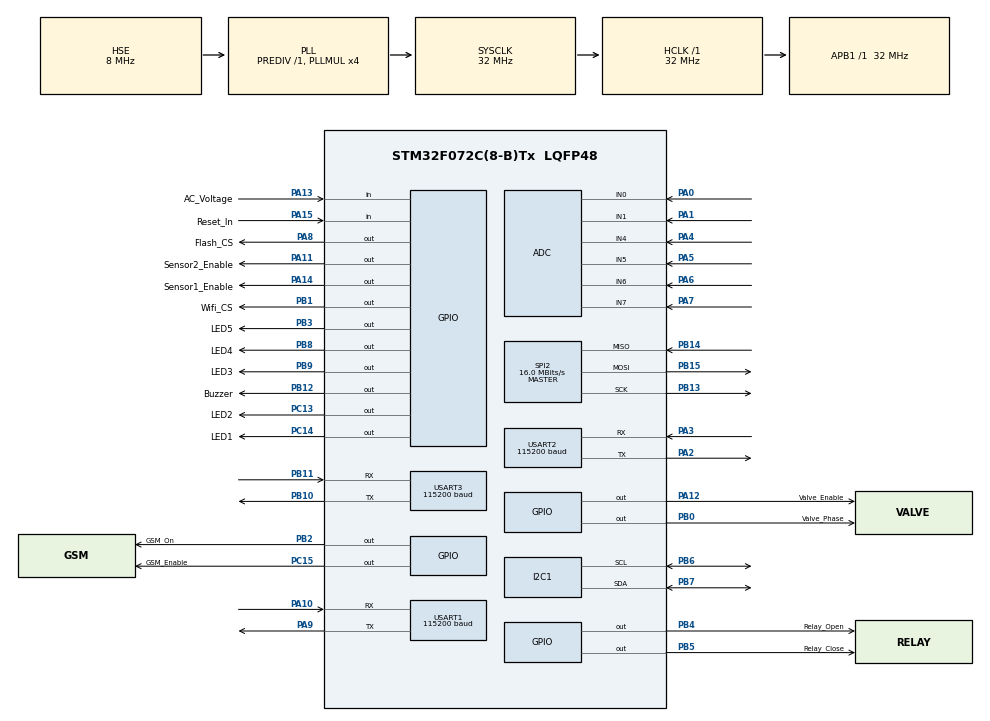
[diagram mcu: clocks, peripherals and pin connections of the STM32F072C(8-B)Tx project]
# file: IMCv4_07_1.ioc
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Mcu.Family=STM32F0
PA2.GPIO_PuPd=GPIO_PULLUP
PA6.Mode=IN6
WWDG.Counter=127
Dma.ADC.0.Mode=DMA_NORMAL
SPI2.VirtualType=VM_MASTER
PB10.Mode=Asynchronous
USART1.BaudRate=115200
PA14.GPIO_Label=Sensor1_Enable
PA3.GPIO_PuPd=GPIO_PULLUP
Dma.ADC.0.Priority=DMA_PRIORITY_LOW
PB0.GPIO_Label=Valve_Phase
PC13.GPIO_Label=LED2
PB11.Signal=USART3_RX
PB13.Signal=SPI2_SCK
PB15.Signal=SPI2_MOSI
PC15-OSC32_OUT.GPIO_Label=GSM_Enable
RCC.SYSCLKSource=RCC_SYSCLKSOURCE_PLLCLK
ProjectManager.StackSize=0x400
NVIC.I2C1_IRQn=true\:0\:0\:false\:false\:true\:true\:true
USART3.VirtualMode-Asynchronous=VM_ASYNC
PA15.GPIO_Label=Reset_In
PA12.Signal=GPIO_Output
USART3.BaudRate=115200
PA4.Mode=IN4
Dma.ADC.0.PeriphInc=DMA_PINC_DISABLE
RCC.HCLKFreq_Value=32000000
PB6.Signal=I2C1_SCL
PB6.Mode=I2C
RCC.AHBFreq_Value=32000000
Dma.ADC.0.Direction=DMA_PERIPH_TO_MEMORY
PB2.Signal=GPIO_Output
USART2.VirtualMode-Asynchronous=VM_ASYNC
RCC.PLLMUL=RCC_PLL_MUL4
PB12.GPIO_Label=Buzzer
PB14.Mode=Full_Duplex_Master
PB1.GPIO_Label=Wifi_CS
NVIC.TIM2_IRQn=true\:0\:0\:false\:false\:true\:false\:true
PA0.Mode=IN0
SPI2.CalculateBaudRate=16.0 MBits/s
PB7.Signal=I2C1_SDA
PA8.Signal=GPIO_Output
VP_TIM1_VS_ClockSourceINT.Mode=Internal
PA0.Signal=ADC_IN0
Dma.ADC.0.MemInc=DMA_MINC_ENABLE
NVIC.WWDG_IRQn=true\:0\:0\:false\:false\:true\:true\:true
Mcu.Package=LQFP48
PB9.Signal=GPIO_Output
VP_SYS_VS_tim2.Mode=TIM2
PB1.Signal=GPIO_Output
PA6.Signal=ADC_IN6
NVIC.TimeBase=TIM2_IRQn
SPI2.Mode=SPI_MODE_MASTER
Dma.ADC.0.Instance=DMA1_Channel1
NVIC.TimeBaseIP=TIM2
PA10.Signal=USART1_RX
PA15.Signal=GPIO_Input
Dma.ADC.0.MemDataAlignment=DMA_MDATAALIGN_WORD
PB5.GPIO_Label=Relay_Close
RCC.APB1TimFreq_Value=32000000
WWDG.Window=64
PC14-OSC32_IN.GPIO_Label=LED1
SPI2.Direction=SPI_DIRECTION_2LINES
TIM1.Period=100
PB13.Mode=Full_Duplex_Master
NVIC.USART1_IRQn=true\:0\:0\:false\:false\:true\:true\:true
PF1-OSC_OUT.Mode=HSE-External-Oscillator
Dma.Request0=ADC
WWDG.Prescaler=WWDG_PRESCALER_8
PF1-OSC_OUT.Signal=RCC_OSC_OUT
PB4.Signal=GPIO_Output
PA3.Signal=USART2_RX
PA5.Mode=IN5
PB3.GPIO_Label=LED5
RCC.PLLSourceVirtual=RCC_PLLSOURCE_HSE
PA7.Mode=IN7
PB9.GPIO_Label=LED3
PA10.Mode=Asynchronous
PC13.Signal=GPIO_Output
PA11.GPIO_Label=Sensor2_Enable
PC14-OSC32_IN.Signal=GPIO_Output
NVIC.USART2_IRQn=true\:0\:0\:true\:false\:true\:true\:true
USART2.BaudRate=115200
PA12.GPIO_Label=Valve_Enable
Dma.ADC.0.PeriphDataAlignment=DMA_PDATAALIGN_WORD
USART1.VirtualMode-Asynchronous=VM_ASYNC
PA3.Mode=Asynchronous
PA13.Signal=GPIO_Input
PB8.GPIO_Label=LED4
PA9.Mode=Asynchronous
PA8.GPIO_Label=Flash_CS
PB11.Mode=Asynchronous
ProjectManager.TargetToolchain=SW4STM32
PA9.Signal=USART1_TX
PC15-OSC32_OUT.Signal=GPIO_Output
PA1.Signal=ADC_IN1
PF0-OSC_IN.Mode=HSE-External-Oscillator
PB10.Signal=USART3_TX
PB14.Signal=SPI2_MISO
PA5.Signal=ADC_IN5
board=custom
PB15.Mode=Full_Duplex_Master
PA1.Mode=IN1
PB4.GPIO_Label=Relay_Open
Mcu.Name=STM32F072C(8-B)Tx
PA2.Signal=USART2_TX
PA13.GPIO_Label=AC_Voltage
PB3.Signal=GPIO_Output
PA4.Signal=ADC_IN4
RCC.SYSCLKFreq_VALUE=32000000
PB5.Signal=GPIO_Output
PA11.Signal=GPIO_Output
PB7.Mode=I2C
PA14.Signal=GPIO_Output
PB2.GPIO_Label=GSM_On
ProjectManager.HeapSize=0x200
VP_WWDG_VS_WWDG.Mode=WWDG_Activate
PA2.Mode=Asynchronous
PB8.Signal=GPIO_Output
SPI2.DataSize=SPI_DATASIZE_8BIT
NVIC.DMA1_Channel1_IRQn=true\:0\:0\:false\:false\:true\:false\:true
PF0-OSC_IN.Signal=RCC_OSC_IN
RCC.APB1Freq_Value=32000000
PB0.Signal=GPIO_Output
ADC.ContinuousConvMode=ENABLE
NVIC.TIM1_BRK_UP_TRG_COM_IRQn=true\:0\:0\:false\:false\:true\:true\:true
PB12.Signal=GPIO_Output
PA7.Signal=ADC_IN7

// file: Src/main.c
/* USER CODE BEGIN Header */
/**
  ******************************************************************************
  * @file           : main.c
  * @brief          : Main program body
  ******************************************************************************
  * @attention
  *
  * <h2><center>&copy; Copyright (c) 2021 STMicroelectronics.
  * All rights reserved.</center></h2>
  *
  * This software component is licensed by ST under BSD 3-Clause license,
  * the "License"; You may not use this file except in compliance with the
  * License. You may obtain a copy of the License at:
  *                        opensource.org/licenses/BSD-3-Clause
  *
  ******************************************************************************
  */
/* USER CODE END Header */

#include "main.h"

/* USER CODE BEGIN Includes */
#include "GSM.h"
#include "LCD.h"
#include "LCD1.h"
#include "ADE7953.h"
#include "motor.h"
#include "ADC.h"
/* USER CODE END Includes */

ADC_HandleTypeDef hadc;
DMA_HandleTypeDef hdma_adc;

I2C_HandleTypeDef hi2c1;

SPI_HandleTypeDef hspi2;

TIM_HandleTypeDef htim1;

UART_HandleTypeDef huart1;
UART_HandleTypeDef huart2;
UART_HandleTypeDef huart3;

WWDG_HandleTypeDef hwwdg;

/* USER CODE BEGIN PV */
/* Private variables ---------------------------------------------------------*/
uint8_t timer = 0;
uint8_t temp[20];
int timer1 = 0;
int timer2 = 0;
extern uint8_t of = 0;
extern ADE_direction adeDir;
extern int gsmTimeout;
/* USER CODE END PV */

void SystemClock_Config(void);
static void MX_GPIO_Init(void);
static void MX_DMA_Init(void);
static void MX_ADC_Init(void);
static void MX_I2C1_Init(void);
static void MX_SPI2_Init(void);
static void MX_USART1_UART_Init(void);
static void MX_USART2_UART_Init(void);
static void MX_USART3_UART_Init(void);
static void MX_TIM1_Init(void);
static void MX_WWDG_Init(void);
/* USER CODE BEGIN PFP */
void loop();
/* Private function prototypes -----------------------------------------------*/

/* USER CODE END PFP */

int main(void)
{

  /* MCU Configuration--------------------------------------------------------*/

  /* Reset of all peripherals, Initializes the Flash interface and the Systick. */
  HAL_Init();

  /* Configure the system clock */
  SystemClock_Config();

  /* Initialize all configured peripherals */
  MX_GPIO_Init();
  MX_DMA_Init();
  MX_ADC_Init();
  MX_I2C1_Init();
  MX_SPI2_Init();
  MX_USART1_UART_Init();
  MX_USART2_UART_Init();
  MX_USART3_UART_Init();
  MX_TIM1_Init();
  MX_WWDG_Init();
  /* USER CODE BEGIN 2 */
  HAL_Delay(500);
  //LCD_Init();
  Debug_Send("Here\r\n");
  GSM_Init();
  //Debug_Send("Here1\r\n");
  //ValveOpen();
  /* USER CODE END 2 */

  /* Infinite loop */
  while (1)
  {

    /* USER CODE BEGIN 3 */

	  /*if (of == 1){
		  of = 0;

	  }*/
  }
  /* USER CODE END 3 */
}

void SystemClock_Config(void)
{
  RCC_OscInitTypeDef RCC_OscInitStruct = {0};
  RCC_ClkInitTypeDef RCC_ClkInitStruct = {0};
  RCC_PeriphCLKInitTypeDef PeriphClkInit = {0};

  /** Initializes the CPU, AHB and APB busses clocks
  */
  RCC_OscInitStruct.OscillatorType = RCC_OSCILLATORTYPE_HSI|RCC_OSCILLATORTYPE_HSI14
                              |RCC_OSCILLATORTYPE_HSE;
  RCC_OscInitStruct.HSEState = RCC_HSE_ON;
  RCC_OscInitStruct.HSIState = RCC_HSI_ON;
  RCC_OscInitStruct.HSI14State = RCC_HSI14_ON;
  RCC_OscInitStruct.HSICalibrationValue = RCC_HSICALIBRATION_DEFAULT;
  RCC_OscInitStruct.HSI14CalibrationValue = 16;
  RCC_OscInitStruct.PLL.PLLState = RCC_PLL_ON;
  RCC_OscInitStruct.PLL.PLLSource = RCC_PLLSOURCE_HSE;
  RCC_OscInitStruct.PLL.PLLMUL = RCC_PLL_MUL4;
  RCC_OscInitStruct.PLL.PREDIV = RCC_PREDIV_DIV1;
  if (HAL_RCC_OscConfig(&RCC_OscInitStruct) != HAL_OK)
  {
    Error_Handler();
  }
  /** Initializes the CPU, AHB and APB busses clocks
  */
  RCC_ClkInitStruct.ClockType = RCC_CLOCKTYPE_HCLK|RCC_CLOCKTYPE_SYSCLK
                              |RCC_CLOCKTYPE_PCLK1;
  RCC_ClkInitStruct.SYSCLKSource = RCC_SYSCLKSOURCE_PLLCLK;
  RCC_ClkInitStruct.AHBCLKDivider = RCC_SYSCLK_DIV1;
  RCC_ClkInitStruct.APB1CLKDivider = RCC_HCLK_DIV1;

  if (HAL_RCC_ClockConfig(&RCC_ClkInitStruct, FLASH_LATENCY_1) != HAL_OK)
  {
    Error_Handler();
  }
  PeriphClkInit.PeriphClockSelection = RCC_PERIPHCLK_USART1|RCC_PERIPHCLK_USART2
                              |RCC_PERIPHCLK_I2C1;
  PeriphClkInit.Usart1ClockSelection = RCC_USART1CLKSOURCE_PCLK1;
  PeriphClkInit.Usart2ClockSelection = RCC_USART2CLKSOURCE_PCLK1;
  PeriphClkInit.I2c1ClockSelection = RCC_I2C1CLKSOURCE_HSI;
  if (HAL_RCCEx_PeriphCLKConfig(&PeriphClkInit) != HAL_OK)
  {
    Error_Handler();
  }
}

static void MX_ADC_Init(void)
{

  ADC_ChannelConfTypeDef sConfig = {0};

  /** Configure the global features of the ADC (Clock, Resolution, Data Alignment and number of conversion)
  */
  hadc.Instance = ADC1;
  hadc.Init.ClockPrescaler = ADC_CLOCK_ASYNC_DIV1;
  hadc.Init.Resolution = ADC_RESOLUTION_12B;
  hadc.Init.DataAlign = ADC_DATAALIGN_RIGHT;
  hadc.Init.ScanConvMode = ADC_SCAN_DIRECTION_FORWARD;
  hadc.Init.EOCSelection = ADC_EOC_SINGLE_CONV;
  hadc.Init.LowPowerAutoWait = DISABLE;
  hadc.Init.LowPowerAutoPowerOff = DISABLE;
  hadc.Init.ContinuousConvMode = ENABLE;
  hadc.Init.DiscontinuousConvMode = DISABLE;
  hadc.Init.ExternalTrigConv = ADC_SOFTWARE_START;
  hadc.Init.ExternalTrigConvEdge = ADC_EXTERNALTRIGCONVEDGE_NONE;
  hadc.Init.DMAContinuousRequests = DISABLE;
  hadc.Init.Overrun = ADC_OVR_DATA_PRESERVED;
  if (HAL_ADC_Init(&hadc) != HAL_OK)
  {
    Error_Handler();
  }
  /** Configure for the selected ADC regular channel to be converted.
  */
  sConfig.Channel = ADC_CHANNEL_0;
  sConfig.Rank = ADC_RANK_CHANNEL_NUMBER;
  sConfig.SamplingTime = ADC_SAMPLETIME_1CYCLE_5;
  if (HAL_ADC_ConfigChannel(&hadc, &sConfig) != HAL_OK)
  {
    Error_Handler();
  }
  /** Configure for the selected ADC regular channel to be converted.
  */
  sConfig.Channel = ADC_CHANNEL_1;
  if (HAL_ADC_ConfigChannel(&hadc, &sConfig) != HAL_OK)
  {
    Error_Handler();
  }
  /** Configure for the selected ADC regular channel to be converted.
  */
  sConfig.Channel = ADC_CHANNEL_4;
  if (HAL_ADC_ConfigChannel(&hadc, &sConfig) != HAL_OK)
  {
    Error_Handler();
  }
  /** Configure for the selected ADC regular channel to be converted.
  */
  sConfig.Channel = ADC_CHANNEL_5;
  if (HAL_ADC_ConfigChannel(&hadc, &sConfig) != HAL_OK)
  {
    Error_Handler();
  }
  /** Configure for the selected ADC regular channel to be converted.
  */
  sConfig.Channel = ADC_CHANNEL_6;
  if (HAL_ADC_ConfigChannel(&hadc, &sConfig) != HAL_OK)
  {
    Error_Handler();
  }
  /** Configure for the selected ADC regular channel to be converted.
  */
  sConfig.Channel = ADC_CHANNEL_7;
  if (HAL_ADC_ConfigChannel(&hadc, &sConfig) != HAL_OK)
  {
    Error_Handler();
  }

}

static void MX_I2C1_Init(void)
{

  hi2c1.Instance = I2C1;
  hi2c1.Init.Timing = 0x2000090E;
  hi2c1.Init.OwnAddress1 = 0;
  hi2c1.Init.AddressingMode = I2C_ADDRESSINGMODE_7BIT;
  hi2c1.Init.DualAddressMode = I2C_DUALADDRESS_DISABLE;
  hi2c1.Init.OwnAddress2 = 0;
  hi2c1.Init.OwnAddress2Masks = I2C_OA2_NOMASK;
  hi2c1.Init.GeneralCallMode = I2C_GENERALCALL_DISABLE;
  hi2c1.Init.NoStretchMode = I2C_NOSTRETCH_DISABLE;
  if (HAL_I2C_Init(&hi2c1) != HAL_OK)
  {
    Error_Handler();
  }
  /** Configure Analogue filter
  */
  if (HAL_I2CEx_ConfigAnalogFilter(&hi2c1, I2C_ANALOGFILTER_ENABLE) != HAL_OK)
  {
    Error_Handler();
  }
  /** Configure Digital filter
  */
  if (HAL_I2CEx_ConfigDigitalFilter(&hi2c1, 0) != HAL_OK)
  {
    Error_Handler();
  }

}

static void MX_SPI2_Init(void)
{

  /* SPI2 parameter configuration*/
  hspi2.Instance = SPI2;
  hspi2.Init.Mode = SPI_MODE_MASTER;
  hspi2.Init.Direction = SPI_DIRECTION_2LINES;
  hspi2.Init.DataSize = SPI_DATASIZE_8BIT;
  hspi2.Init.CLKPolarity = SPI_POLARITY_LOW;
  hspi2.Init.CLKPhase = SPI_PHASE_1EDGE;
  hspi2.Init.NSS = SPI_NSS_SOFT;
  hspi2.Init.BaudRatePrescaler = SPI_BAUDRATEPRESCALER_2;
  hspi2.Init.FirstBit = SPI_FIRSTBIT_MSB;
  hspi2.Init.TIMode = SPI_TIMODE_DISABLE;
  hspi2.Init.CRCCalculation = SPI_CRCCALCULATION_DISABLE;
  hspi2.Init.CRCPolynomial = 7;
  hspi2.Init.CRCLength = SPI_CRC_LENGTH_DATASIZE;
  hspi2.Init.NSSPMode = SPI_NSS_PULSE_ENABLE;
  if (HAL_SPI_Init(&hspi2) != HAL_OK)
  {
    Error_Handler();
  }

}

static void MX_TIM1_Init(void)
{

  TIM_ClockConfigTypeDef sClockSourceConfig = {0};
  TIM_MasterConfigTypeDef sMasterConfig = {0};

  htim1.Instance = TIM1;
  htim1.Init.Prescaler = 0;
  htim1.Init.CounterMode = TIM_COUNTERMODE_UP;
  htim1.Init.Period = 100;
  htim1.Init.ClockDivision = TIM_CLOCKDIVISION_DIV1;
  htim1.Init.RepetitionCounter = 0;
  htim1.Init.AutoReloadPreload = TIM_AUTORELOAD_PRELOAD_DISABLE;
  if (HAL_TIM_Base_Init(&htim1) != HAL_OK)
  {
    Error_Handler();
  }
  sClockSourceConfig.ClockSource = TIM_CLOCKSOURCE_INTERNAL;
  if (HAL_TIM_ConfigClockSource(&htim1, &sClockSourceConfig) != HAL_OK)
  {
    Error_Handler();
  }
  sMasterConfig.MasterOutputTrigger = TIM_TRGO_RESET;
  sMasterConfig.MasterSlaveMode = TIM_MASTERSLAVEMODE_DISABLE;
  if (HAL_TIMEx_MasterConfigSynchronization(&htim1, &sMasterConfig) != HAL_OK)
  {
    Error_Handler();
  }

}

static void MX_USART1_UART_Init(void)
{

  huart1.Instance = USART1;
  huart1.Init.BaudRate = 115200;
  huart1.Init.WordLength = UART_WORDLENGTH_8B;
  huart1.Init.StopBits = UART_STOPBITS_1;
  huart1.Init.Parity = UART_PARITY_NONE;
  huart1.Init.Mode = UART_MODE_TX_RX;
  huart1.Init.HwFlowCtl = UART_HWCONTROL_NONE;
  huart1.Init.OverSampling = UART_OVERSAMPLING_16;
  huart1.Init.OneBitSampling = UART_ONE_BIT_SAMPLE_DISABLE;
  huart1.AdvancedInit.AdvFeatureInit = UART_ADVFEATURE_NO_INIT;
  if (HAL_UART_Init(&huart1) != HAL_OK)
  {
    Error_Handler();
  }

}

static void MX_USART2_UART_Init(void)
{

  huart2.Instance = USART2;
  huart2.Init.BaudRate = 115200;
  huart2.Init.WordLength = UART_WORDLENGTH_8B;
  huart2.Init.StopBits = UART_STOPBITS_1;
  huart2.Init.Parity = UART_PARITY_NONE;
  huart2.Init.Mode = UART_MODE_TX_RX;
  huart2.Init.HwFlowCtl = UART_HWCONTROL_NONE;
  huart2.Init.OverSampling = UART_OVERSAMPLING_16;
  huart2.Init.OneBitSampling = UART_ONE_BIT_SAMPLE_DISABLE;
  huart2.AdvancedInit.AdvFeatureInit = UART_ADVFEATURE_NO_INIT;
  if (HAL_UART_Init(&huart2) != HAL_OK)
  {
    Error_Handler();
  }

}

static void MX_USART3_UART_Init(void)
{

  huart3.Instance = USART3;
  huart3.Init.BaudRate = 115200;
  huart3.Init.WordLength = UART_WORDLENGTH_8B;
  huart3.Init.StopBits = UART_STOPBITS_1;
  huart3.Init.Parity = UART_PARITY_NONE;
  huart3.Init.Mode = UART_MODE_TX_RX;
  huart3.Init.HwFlowCtl = UART_HWCONTROL_NONE;
  huart3.Init.OverSampling = UART_OVERSAMPLING_16;
  huart3.Init.OneBitSampling = UART_ONE_BIT_SAMPLE_DISABLE;
  huart3.AdvancedInit.AdvFeatureInit = UART_ADVFEATURE_NO_INIT;
  if (HAL_UART_Init(&huart3) != HAL_OK)
  {
    Error_Handler();
  }

}

static void MX_WWDG_Init(void)
{

  hwwdg.Instance = WWDG;
  hwwdg.Init.Prescaler = WWDG_PRESCALER_8;
  hwwdg.Init.Window = 126;
  hwwdg.Init.Counter = 127;
  hwwdg.Init.EWIMode = WWDG_EWI_DISABLE;
  if (HAL_WWDG_Init(&hwwdg) != HAL_OK)
  {
    Error_Handler();
  }

}

static void MX_DMA_Init(void)
{

  /* DMA controller clock enable */
  __HAL_RCC_DMA1_CLK_ENABLE();

  /* DMA interrupt init */
  /* DMA1_Channel1_IRQn interrupt configuration */
  HAL_NVIC_SetPriority(DMA1_Channel1_IRQn, 0, 0);
  HAL_NVIC_EnableIRQ(DMA1_Channel1_IRQn);

}

static void MX_GPIO_Init(void)
{
  GPIO_InitTypeDef GPIO_InitStruct = {0};

  /* GPIO Ports Clock Enable */
  __HAL_RCC_GPIOC_CLK_ENABLE();
  __HAL_RCC_GPIOF_CLK_ENABLE();
  __HAL_RCC_GPIOA_CLK_ENABLE();
  __HAL_RCC_GPIOB_CLK_ENABLE();

  /*Configure GPIO pin Output Level */
  HAL_GPIO_WritePin(GPIOC, LED2_Pin|LED1_Pin|GSM_Enable_Pin, GPIO_PIN_RESET);

  /*Configure GPIO pin Output Level */
  HAL_GPIO_WritePin(GPIOB, Valve_Phase_Pin|Wifi_CS_Pin|GSM_On_Pin|Buzzer_Pin
                          |LED5_Pin|Relay_Open_Pin|Relay_Close_Pin|LED4_Pin
                          |LED3_Pin, GPIO_PIN_RESET);

  /*Configure GPIO pin Output Level */
  HAL_GPIO_WritePin(GPIOA, Flash_CS_Pin|Sensor2_Enable_Pin|Valve_Enable_Pin|Sensor1_Enable_Pin, GPIO_PIN_RESET);

  /*Configure GPIO pins : LED2_Pin LED1_Pin GSM_Enable_Pin */
  GPIO_InitStruct.Pin = LED2_Pin|LED1_Pin|GSM_Enable_Pin;
  GPIO_InitStruct.Mode = GPIO_MODE_OUTPUT_PP;
  GPIO_InitStruct.Pull = GPIO_NOPULL;
  GPIO_InitStruct.Speed = GPIO_SPEED_FREQ_LOW;
  HAL_GPIO_Init(GPIOC, &GPIO_InitStruct);

  /*Configure GPIO pins : Valve_Phase_Pin Wifi_CS_Pin GSM_On_Pin Buzzer_Pin
                           LED5_Pin Relay_Open_Pin Relay_Close_Pin LED4_Pin
                           LED3_Pin */
  GPIO_InitStruct.Pin = Valve_Phase_Pin|Wifi_CS_Pin|GSM_On_Pin|Buzzer_Pin
                          |LED5_Pin|Relay_Open_Pin|Relay_Close_Pin|LED4_Pin
                          |LED3_Pin;
  GPIO_InitStruct.Mode = GPIO_MODE_OUTPUT_PP;
  GPIO_InitStruct.Pull = GPIO_NOPULL;
  GPIO_InitStruct.Speed = GPIO_SPEED_FREQ_LOW;
  HAL_GPIO_Init(GPIOB, &GPIO_InitStruct);

  /*Configure GPIO pins : Flash_CS_Pin Sensor2_Enable_Pin Valve_Enable_Pin Sensor1_Enable_Pin */
  GPIO_InitStruct.Pin = Flash_CS_Pin|Sensor2_Enable_Pin|Valve_Enable_Pin|Sensor1_Enable_Pin;
  GPIO_InitStruct.Mode = GPIO_MODE_OUTPUT_PP;
  GPIO_InitStruct.Pull = GPIO_NOPULL;
  GPIO_InitStruct.Speed = GPIO_SPEED_FREQ_LOW;
  HAL_GPIO_Init(GPIOA, &GPIO_InitStruct);

  /*Configure GPIO pins : AC_Voltage_Pin Reset_In_Pin */
  GPIO_InitStruct.Pin = AC_Voltage_Pin|Reset_In_Pin;
  GPIO_InitStruct.Mode = GPIO_MODE_INPUT;
  GPIO_InitStruct.Pull = GPIO_NOPULL;
  HAL_GPIO_Init(GPIOA, &GPIO_InitStruct);

}

/* USER CODE BEGIN 4 */
void loop(){
	ADE_Service();

	//if(adeDir == Rx) ADE_TxRx(0x7c, Rx);
	//else ADE_TxRx(0x21F,Tx);
	GSM_Service();
	//ADC_Service();
	//Motor_Service();
	//Debug_Send("Test\r\n");
	/*int temp3;
	char temp2[20];
	char temp[50];
	temp3 = getVolt();
	myLongStr(temp3,temp2,10,10);
	//Debug_Send("V:");
	strcat (temp, "V:");
	strcat (temp, temp2);
	strcat (temp, ",C:");
	temp3 = getCurrent();
	myLongStr(temp3,temp2,10,10);
	strcat (temp, temp2);
	strcat (temp, "\n:");*/

	/*Debug_Send(temp2);
	Debug_Send("\r\n");
	temp3 = getCurrent();
	Debug_Send("I:");
	myLongStr(temp3,temp2,10,10);*/
	//Debug_Send(temp);
	//Debug_Send("\r\n");

}

/* USER CODE END 4 */

 /**
  * @brief  Period elapsed callback in non blocking mode
  * @note   This function is called  when TIM2 interrupt took place, inside
  * HAL_TIM_IRQHandler(). It makes a direct call to HAL_IncTick() to increment
  * a global variable "uwTick" used as application time base.
  * @param  htim : TIM handle
  * @retval None
  */
void HAL_TIM_PeriodElapsedCallback(TIM_HandleTypeDef *htim)
{
  /* USER CODE BEGIN Callback 0 */
	if (timer2 <30)timer2++;
		else{
			timer2 = 0;
			recData();
			if(gsmTimeout <= 5) HAL_WWDG_Refresh(&hwwdg);
		}
	if (timer1 <1000)timer1++;
	else {
		timer1 = 0;
		//of = 1;
		loop();

		//SendChar(0x30);
	}
	//hwwdg.Init.Counter = 127;

  /* USER CODE END Callback 0 */
  if (htim->Instance == TIM2) {
    HAL_IncTick();
  }
}

void Error_Handler(void)
{
  while(1)
  {
  }
}

/************************ (C) COPYRIGHT STMicroelectronics *****END OF FILE****/
